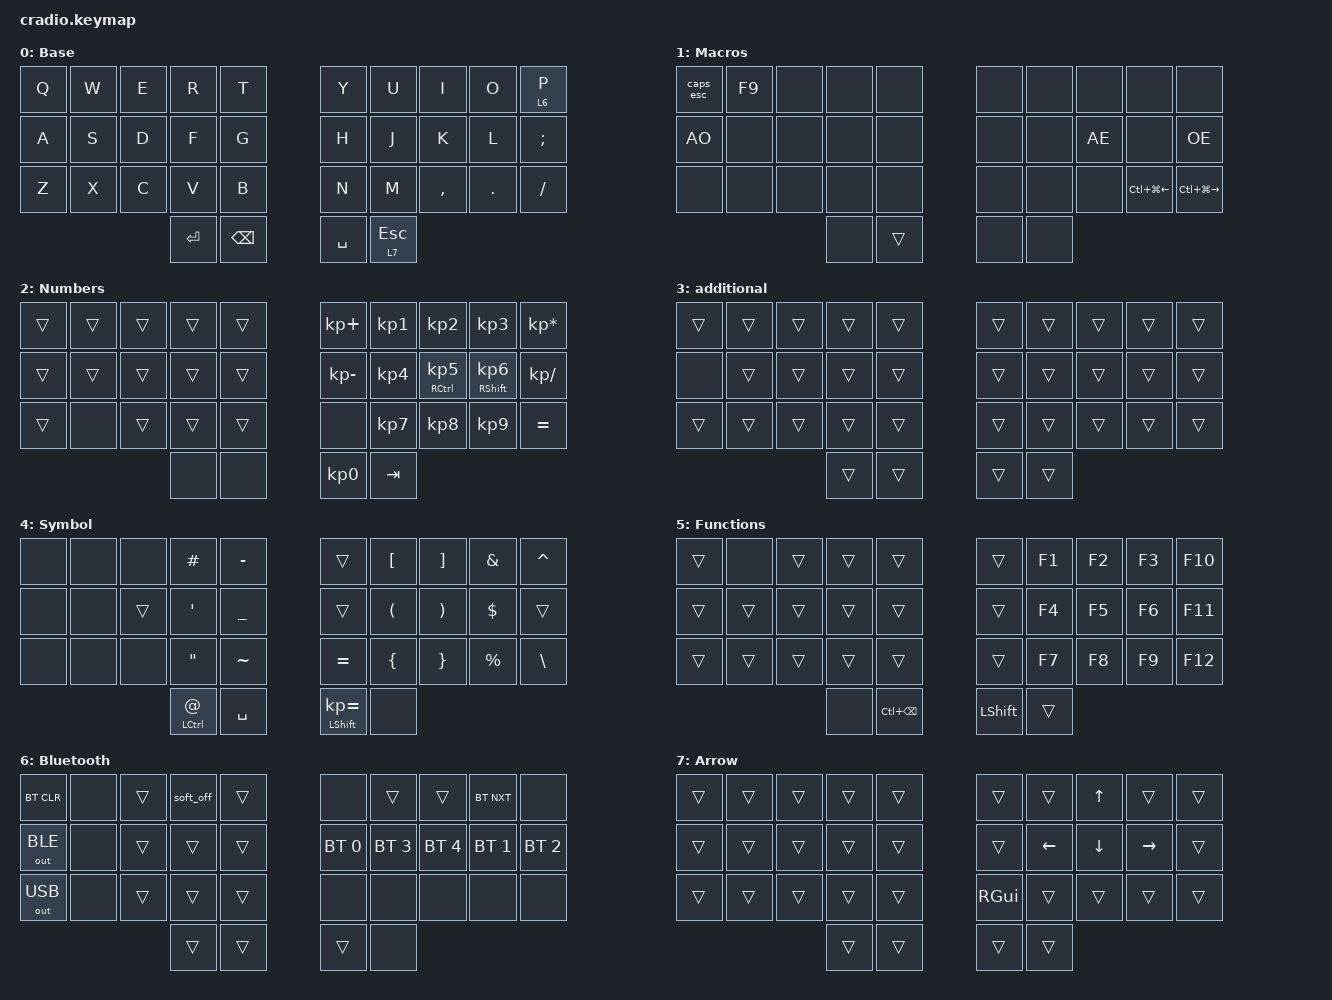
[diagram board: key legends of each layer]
// Copyright (c) 2022 The ZMK Contributors
// SPDX-License-Identifier: MIT

#include <dt-bindings/zmk/mouse.h>
#include <behaviors.dtsi>
#include <dt-bindings/zmk/bt.h>
#include <dt-bindings/zmk/keys.h>
#include <dt-bindings/zmk/outputs.h>

&lt { tapping-term-ms = <170>; };

/ {
    macros {
        norsk_AO: norsk_AO {
            compatible = "zmk,behavior-macro";
            #binding-cells = <0>;
            bindings =
                <&macro_press>,
                <&kp LEFT_ALT>,
                <&macro_tap>,
                <&kp KP_NUMBER_0 &kp KP_NUMBER_2 &kp KP_NUMBER_2 &kp KP_NUMBER_9>,
                <&macro_release>,
                <&kp LEFT_ALT>;

            label = "NORSK_AO";
        };

        norsk_AO_cap: norsk_AO_cap {
            compatible = "zmk,behavior-macro";
            #binding-cells = <0>;
            bindings =
                <&macro_press>,
                <&kp LEFT_ALT>,
                <&macro_tap>,
                <&kp KP_NUMBER_0 &kp KP_NUMBER_1 &kp KP_NUMBER_9 &kp KP_NUMBER_7>,
                <&macro_release>,
                <&kp LEFT_ALT>;

            label = "NORSK_AO_CAP";
        };

        norsk_AE: norsk_AE {
            compatible = "zmk,behavior-macro";
            #binding-cells = <0>;
            bindings =
                <&macro_press>,
                <&kp LEFT_ALT>,
                <&macro_tap>,
                <&kp KP_NUMBER_0 &kp KP_NUMBER_2 &kp KP_NUMBER_3 &kp KP_NUMBER_0>,
                <&macro_release>,
                <&kp LEFT_ALT>;

            label = "NORSK_AE";
        };

        norsk_AE_CAP: norsk_AE_CAP {
            compatible = "zmk,behavior-macro";
            #binding-cells = <0>;
            bindings =
                <&macro_press>,
                <&kp LEFT_ALT>,
                <&macro_tap>,
                <&kp KP_NUMBER_0 &kp KP_NUMBER_1 &kp KP_NUMBER_9 &kp KP_NUMBER_8>,
                <&macro_release>,
                <&kp LEFT_ALT>;

            label = "NORSK_AE_CAP";
        };

        norsk_OE: norsk_OE {
            compatible = "zmk,behavior-macro";
            #binding-cells = <0>;
            bindings =
                <&macro_press>,
                <&kp LEFT_ALT>,
                <&macro_tap>,
                <&kp KP_NUMBER_0 &kp KP_NUMBER_2 &kp KP_NUMBER_4 &kp KP_NUMBER_8>,
                <&macro_release>,
                <&kp LEFT_ALT>;

            label = "NORSK_OE";
        };

        norsk_OE_CAP: norsk_OE_CAP {
            compatible = "zmk,behavior-macro";
            #binding-cells = <0>;
            bindings =
                <&macro_press>,
                <&kp LEFT_ALT>,
                <&macro_tap>,
                <&kp KP_NUMBER_0 &kp KP_NUMBER_2 &kp KP_NUMBER_1 &kp KP_NUMBER_6>,
                <&macro_release>,
                <&kp LEFT_ALT>;

            label = "NORSK_OE_CAP";
        };
    };

    behaviors {
        caps_esc: caps_esc {
            compatible = "zmk,behavior-tap-dance";
            label = "CAPS_ESC";
            #binding-cells = <0>;
            bindings = <&kp ESCAPE>, <&kp CAPS>;

            tapping-term-ms = <300>;
        };

        AO: AO {
            compatible = "zmk,behavior-tap-dance";
            label = "AO";
            #binding-cells = <0>;
            bindings = <&norsk_AO>, <&norsk_AO_cap>;

            tapping-term-ms = <300>;
        };

        AE: AE {
            compatible = "zmk,behavior-tap-dance";
            label = "AE";
            #binding-cells = <0>;
            bindings = <&norsk_AE>, <&norsk_AE_CAP>;

            tapping-term-ms = <300>;
        };

        OE: OE {
            compatible = "zmk,behavior-tap-dance";
            label = "OE";
            #binding-cells = <0>;
            bindings = <&norsk_OE>, <&norsk_OE_CAP>;

            tapping-term-ms = <300>;
        };
    };

    combos {
        compatible = "zmk,combos";

        bootloader_left {
            bindings = <&bootloader>;
            key-positions = <4 14 24>;
            layers = <0>;
        };
    };

    keymap {
        compatible = "zmk,keymap";

        Base {
            bindings = <

&kp Q  &kp W  &kp E  &kp R      &kp T       &kp Y      &kp U         &kp I      &kp O    &lt 6 P
&kp A  &kp S  &kp D  &kp F      &kp G       &kp H      &kp J         &kp K      &kp L    &kp SEMI
&kp Z  &kp X  &kp C  &kp V      &kp B       &kp N      &kp M         &kp COMMA  &kp DOT  &kp FSLH
                     &kp ENTER  &kp BSPC    &kp SPACE  &lt 7 ESCAPE
            >;
        };

        Macros {
            bindings = <
&caps_esc  &kp F9  &none  &none  &none     &none  &none  &none  &none             &none
&AO        &none   &none  &none  &none     &none  &none  &AE    &none             &OE
&none      &none   &none  &none  &none     &none  &none  &none  &kp LC(LG(LEFT))  &kp LC(LG(RIGHT))
                          &none  &trans    &none  &none
            >;
        };

        Numbers {
            bindings = <
&trans  &trans  &trans  &trans  &trans    &kp KP_PLUS      &kp KP_NUMBER_1  &kp KP_NUMBER_2        &kp KP_NUMBER_3              &kp KP_MULTIPLY
&trans  &trans  &trans  &trans  &trans    &kp KP_SUBTRACT  &kp KP_N4        &mt RCTRL KP_NUMBER_5  &mt RIGHT_SHIFT KP_NUMBER_6  &kp KP_DIVIDE
&trans  &none   &trans  &trans  &trans    &none            &kp KP_N7        &kp KP_N8              &kp KP_N9                    &kp EQUAL
                        &none   &none     &kp KP_NUMBER_0  &kp TAB
            >;
        };

        additional {
            bindings = <
&trans  &trans  &trans  &trans  &trans    &trans  &trans  &trans  &trans  &trans
&none   &trans  &trans  &trans  &trans    &trans  &trans  &trans  &trans  &trans
&trans  &trans  &trans  &trans  &trans    &trans  &trans  &trans  &trans  &trans
                        &trans  &trans    &trans  &trans
            >;
        };

        Symbol {
            bindings = <
&none  &none  &none   &kp HASH           &kp MINUS         &trans                   &kp LEFT_BRACKET      &kp RIGHT_BRACKET      &kp AMPERSAND  &kp CARET
&none  &none  &trans  &kp SINGLE_QUOTE   &kp UNDERSCORE    &trans                   &kp LEFT_PARENTHESIS  &kp RIGHT_PARENTHESIS  &kp DOLLAR     &trans
&none  &none  &none   &kp DOUBLE_QUOTES  &kp TILDE         &kp EQUAL                &kp LEFT_BRACE        &kp RIGHT_BRACE        &kp PERCENT    &kp BACKSLASH
                      &mt LCTRL AT       &kp SPACE         &mt LEFT_SHIFT KP_EQUAL  &none
            >;
        };

        Functions {
            bindings = <
&trans  &none   &trans  &trans  &trans          &trans     &kp F1  &kp F2  &kp F3  &kp F10
&trans  &trans  &trans  &trans  &trans          &trans     &kp F4  &kp F5  &kp F6  &kp F11
&trans  &trans  &trans  &trans  &trans          &trans     &kp F7  &kp F8  &kp F9  &kp F12
                        &none   &kp LC(BSPC)    &kp LSHFT  &trans
            >;
        };

        Bluetooth {
            bindings = <
&bt BT_CLR    &none  &trans  &soft_off  &trans    &none         &trans        &trans        &bt BT_NXT    &none
&out OUT_BLE  &none   &trans  &trans     &trans    &bt BT_SEL 0  &bt BT_SEL 3  &bt BT_SEL 4  &bt BT_SEL 1  &bt BT_SEL 2
&out OUT_USB  &none   &trans  &trans     &trans    &none         &none         &none         &none         &none
                              &trans     &trans    &trans        &none
            >;
        };


        Arrow {
            bindings = <
&trans  &trans  &trans  &trans  &trans    &trans    &trans    &kp UP_ARROW    &trans     &trans
&trans  &trans  &trans  &trans  &trans    &trans    &kp LEFT  &kp DOWN_ARROW  &kp RIGHT  &trans
&trans  &trans  &trans  &trans  &trans    &kp RGUI  &trans    &trans          &trans     &trans
                        &trans  &trans    &trans    &trans
            >;
        };
    };

    conditional_layers { compatible = "zmk,conditional-layers"; };
};
